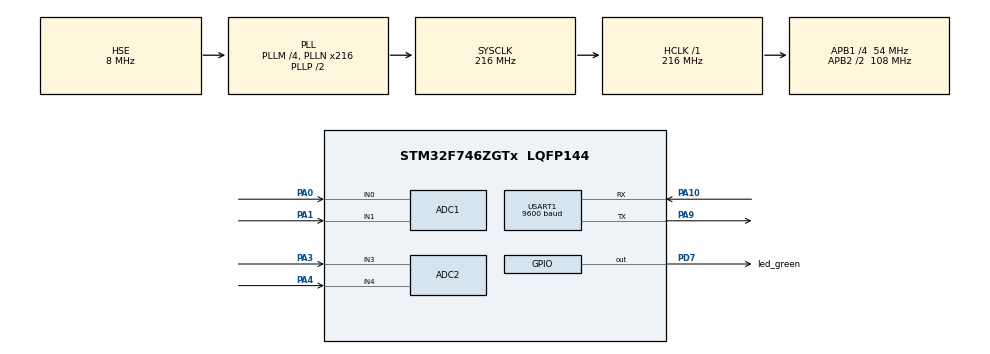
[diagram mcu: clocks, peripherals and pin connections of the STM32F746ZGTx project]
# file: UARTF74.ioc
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ADC1.Channel-0\#ChannelRegularConversion=ADC_CHANNEL_0
ADC1.ContinuousConvMode=ENABLE
ADC1.DMAContinuousRequests=ENABLE
ADC1.NbrOfConversionFlag=1
ADC1.Rank-0\#ChannelRegularConversion=1
ADC1.SamplingTime-0\#ChannelRegularConversion=ADC_SAMPLETIME_3CYCLES
ADC1.ScanConvMode=ADC_SCAN_ENABLE
ADC1.master=1
ADC2.Channel-1\#ChannelRegularConversion=ADC_CHANNEL_3
ADC2.ContinuousConvMode=ENABLE
ADC2.DMAContinuousRequests=ENABLE
ADC2.NbrOfConversionFlag=1
ADC2.Rank-1\#ChannelRegularConversion=1
ADC2.SamplingTime-1\#ChannelRegularConversion=ADC_SAMPLETIME_3CYCLES
ADC2.ScanConvMode=ADC_SCAN_ENABLE
Dma.ADC1.0.Direction=DMA_PERIPH_TO_MEMORY
Dma.ADC1.0.FIFOMode=DMA_FIFOMODE_DISABLE
Dma.ADC1.0.Instance=DMA2_Stream0
Dma.ADC1.0.MemDataAlignment=DMA_MDATAALIGN_WORD
Dma.ADC1.0.MemInc=DMA_MINC_ENABLE
Dma.ADC1.0.Mode=DMA_CIRCULAR
Dma.ADC1.0.PeriphDataAlignment=DMA_PDATAALIGN_WORD
Dma.ADC1.0.PeriphInc=DMA_PINC_DISABLE
Dma.ADC1.0.Priority=DMA_PRIORITY_LOW
Dma.ADC2.1.Direction=DMA_PERIPH_TO_MEMORY
Dma.ADC2.1.FIFOMode=DMA_FIFOMODE_DISABLE
Dma.ADC2.1.Instance=DMA2_Stream2
Dma.ADC2.1.MemDataAlignment=DMA_MDATAALIGN_WORD
Dma.ADC2.1.MemInc=DMA_MINC_ENABLE
Dma.ADC2.1.Mode=DMA_CIRCULAR
Dma.ADC2.1.PeriphDataAlignment=DMA_PDATAALIGN_WORD
Dma.ADC2.1.PeriphInc=DMA_PINC_DISABLE
Dma.ADC2.1.Priority=DMA_PRIORITY_LOW
Dma.Request0=ADC1
Dma.Request1=ADC2
Mcu.Family=STM32F7
Mcu.Name=STM32F746ZGTx
Mcu.Package=LQFP144
NVIC.DMA2_Stream0_IRQn=true\:0\:0\:false\:false\:true\:false\:true\:true
NVIC.DMA2_Stream2_IRQn=true\:0\:0\:false\:false\:true\:false\:true\:true
NVIC.PriorityGroup=NVIC_PRIORITYGROUP_4
NVIC.USART1_IRQn=true\:0\:0\:false\:false\:true\:true\:true\:true
PA0/WKUP.Signal=ADCx_IN0
PA1.Signal=ADCx_IN1
PA10.GPIO_PuPd=GPIO_PULLUP
PA10.GPIO_Speed=GPIO_SPEED_FREQ_MEDIUM
PA10.Mode=Asynchronous
PA10.Signal=USART1_RX
PA3.Signal=ADCx_IN3
PA4.Signal=ADCx_IN4
PA9.GPIO_PuPd=GPIO_PULLUP
PA9.GPIO_Speed=GPIO_SPEED_FREQ_MEDIUM
PA9.Mode=Asynchronous
PA9.Signal=USART1_TX
PD7.GPIO_Label=led_green
PD7.GPIO_PuPd=GPIO_PULLDOWN
PD7.GPIO_Speed=GPIO_SPEED_FREQ_MEDIUM
PD7.Signal=GPIO_Output
PH0/OSC_IN.GPIO_Label=MCO [STM32F103CBT6_PA8]
PH0/OSC_IN.Mode=HSE-External-Clock-Source
PH0/OSC_IN.Signal=RCC_OSC_IN
PH1/OSC_OUT.Mode=HSE-External-Clock-Source
PH1/OSC_OUT.Signal=RCC_OSC_OUT
ProjectManager.HeapSize=0x200
ProjectManager.StackSize=0x400
ProjectManager.TargetToolchain=STM32CubeIDE
RCC.48MHZClocksFreq_Value=24000000
RCC.AHBFreq_Value=216000000
RCC.APB1CLKDivider=RCC_HCLK_DIV4
RCC.APB1Freq_Value=54000000
RCC.APB1TimFreq_Value=108000000
RCC.APB2CLKDivider=RCC_HCLK_DIV2
RCC.APB2Freq_Value=108000000
RCC.APB2TimFreq_Value=216000000
RCC.CortexFreq_Value=216000000
RCC.HCLKFreq_Value=216000000
RCC.HSE_VALUE=8000000
RCC.HSI_VALUE=16000000
RCC.LSE_VALUE=32768
RCC.PLLM=4
RCC.PLLMUL=RCC_PLL_MUL9
RCC.PLLN=216
RCC.PLLQ=3
RCC.PLLSourceVirtual=RCC_PLLSOURCE_HSE
RCC.PRESCALERUSB=RCC_USBCLKSOURCE_PLL_DIV1_5
RCC.SYSCLKFreq_VALUE=216000000
RCC.SYSCLKSource=RCC_SYSCLKSOURCE_PLLCLK
RCC.SYSCLKSourceVirtual=RCC_SYSCLKSOURCE_PLLCLK
RCC.USBFreq_Value=144000000
RCC.VCOOutputFreq_Value=432000000
SH.ADCx_IN0.0=ADC1_IN0,IN0
SH.ADCx_IN1.0=ADC1_IN1,IN1
SH.ADCx_IN3.0=ADC2_IN3,IN3
SH.ADCx_IN4.0=ADC2_IN4,IN4
USART1.BaudRate=9600
USART1.VirtualMode-Asynchronous=VM_ASYNC
board=NUCLEO-F746ZG

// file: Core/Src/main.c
/* USER CODE BEGIN Header */
/**
  ******************************************************************************
  * @file           : main.c
  * @brief          : Main program body
  ******************************************************************************
  * @attention
  *
  * Copyright (c) 2024 STMicroelectronics.
  * All rights reserved.
  *
  * This software is licensed under terms that can be found in the LICENSE file
  * in the root directory of this software component.
  * If no LICENSE file comes with this software, it is provided AS-IS.
  *
  ******************************************************************************
  */
/* USER CODE END Header */
#include "main.h"

ADC_HandleTypeDef hadc1;
ADC_HandleTypeDef hadc2;
DMA_HandleTypeDef hdma_adc1;
DMA_HandleTypeDef hdma_adc2;

UART_HandleTypeDef huart1;

/* USER CODE BEGIN PV */
uint8_t senddata1[4] = {0x66, 0x02, 0x00, 0x68};//TX UART avec bldc
uint8_t senddata[4] ={0x66, 0x42, 0x00, 0xa8};
uint8_t trame[10];//RX UART from bldc
uint8_t CUR_MTMeule;

/* USER CODE END PV */

void SystemClock_Config(void);
static void MX_GPIO_Init(void);
static void MX_DMA_Init(void);
static void MX_ADC1_Init(void);
static void MX_ADC2_Init(void);
static void MX_USART1_UART_Init(void);

/* USER CODE BEGIN 0 */
/*void HAL_ADC_ConvCpltCallback(ADC_HandleTypeDef* hadc)
{

	 if (hadc->Instance == ADC1)
	 	  {

	 	     VBATT=(BATT*3.24/ 4095)*(21/3.24);//tension de la batterie

	 	  }

	 if (hadc->Instance == ADC2)
	 	 	  {

	 	 	     VBATT=(BATT*3.24/ 4095)*(21/3.24);//tension de la batterie

	 	 	  }
}*/
void HAL_UART_RxCpltCallback(UART_HandleTypeDef *huart)
  {
	 //receiveUart();

		HAL_UART_Receive_IT(&huart1,trame, 10);//recevoir trame du bldc;
		CUR_MTMeule= trame[9]/10.0;

}

void sendParameter()

{

  HAL_UART_Transmit_IT(&huart1, senddata, 4);

   HAL_Delay(100);

}

void sendParameter1()

{

  HAL_UART_Transmit_IT(&huart1, senddata1, 4);

   HAL_Delay(100);

}
/* USER CODE END 0 */

int main(void)
{

  /* MCU Configuration--------------------------------------------------------*/

  /* Reset of all peripherals, Initializes the Flash interface and the Systick. */
  HAL_Init();

  /* Configure the system clock */
  SystemClock_Config();

  /* Initialize all configured peripherals */
  MX_GPIO_Init();
  MX_DMA_Init();
  MX_ADC1_Init();
  MX_ADC2_Init();
  MX_USART1_UART_Init();
  /* USER CODE BEGIN 2 */
	HAL_UART_Receive_IT(&huart1,trame, 10);//recevoir trame du bldc;
	//sendParameter1();

  /* USER CODE END 2 */

  /* Infinite loop */
  while (1)
  {

    /* USER CODE BEGIN 3 */
sendParameter();

  }
  /* USER CODE END 3 */
}

void SystemClock_Config(void)
{
  RCC_OscInitTypeDef RCC_OscInitStruct = {0};
  RCC_ClkInitTypeDef RCC_ClkInitStruct = {0};

  /** Configure the main internal regulator output voltage
  */
  __HAL_RCC_PWR_CLK_ENABLE();
  __HAL_PWR_VOLTAGESCALING_CONFIG(PWR_REGULATOR_VOLTAGE_SCALE1);

  /** Initializes the RCC Oscillators according to the specified parameters
  * in the RCC_OscInitTypeDef structure.
  */
  RCC_OscInitStruct.OscillatorType = RCC_OSCILLATORTYPE_HSE;
  RCC_OscInitStruct.HSEState = RCC_HSE_BYPASS;
  RCC_OscInitStruct.PLL.PLLState = RCC_PLL_ON;
  RCC_OscInitStruct.PLL.PLLSource = RCC_PLLSOURCE_HSE;
  RCC_OscInitStruct.PLL.PLLM = 4;
  RCC_OscInitStruct.PLL.PLLN = 216;
  RCC_OscInitStruct.PLL.PLLP = RCC_PLLP_DIV2;
  RCC_OscInitStruct.PLL.PLLQ = 3;
  if (HAL_RCC_OscConfig(&RCC_OscInitStruct) != HAL_OK)
  {
    Error_Handler();
  }

  /** Activate the Over-Drive mode
  */
  if (HAL_PWREx_EnableOverDrive() != HAL_OK)
  {
    Error_Handler();
  }

  /** Initializes the CPU, AHB and APB buses clocks
  */
  RCC_ClkInitStruct.ClockType = RCC_CLOCKTYPE_HCLK|RCC_CLOCKTYPE_SYSCLK
                              |RCC_CLOCKTYPE_PCLK1|RCC_CLOCKTYPE_PCLK2;
  RCC_ClkInitStruct.SYSCLKSource = RCC_SYSCLKSOURCE_PLLCLK;
  RCC_ClkInitStruct.AHBCLKDivider = RCC_SYSCLK_DIV1;
  RCC_ClkInitStruct.APB1CLKDivider = RCC_HCLK_DIV4;
  RCC_ClkInitStruct.APB2CLKDivider = RCC_HCLK_DIV2;

  if (HAL_RCC_ClockConfig(&RCC_ClkInitStruct, FLASH_LATENCY_7) != HAL_OK)
  {
    Error_Handler();
  }
}

static void MX_ADC1_Init(void)
{

  ADC_ChannelConfTypeDef sConfig = {0};

  /** Configure the global features of the ADC (Clock, Resolution, Data Alignment and number of conversion)
  */
  hadc1.Instance = ADC1;
  hadc1.Init.ClockPrescaler = ADC_CLOCK_SYNC_PCLK_DIV4;
  hadc1.Init.Resolution = ADC_RESOLUTION_12B;
  hadc1.Init.ScanConvMode = ADC_SCAN_ENABLE;
  hadc1.Init.ContinuousConvMode = ENABLE;
  hadc1.Init.DiscontinuousConvMode = DISABLE;
  hadc1.Init.ExternalTrigConvEdge = ADC_EXTERNALTRIGCONVEDGE_NONE;
  hadc1.Init.ExternalTrigConv = ADC_SOFTWARE_START;
  hadc1.Init.DataAlign = ADC_DATAALIGN_RIGHT;
  hadc1.Init.NbrOfConversion = 1;
  hadc1.Init.DMAContinuousRequests = ENABLE;
  hadc1.Init.EOCSelection = ADC_EOC_SINGLE_CONV;
  if (HAL_ADC_Init(&hadc1) != HAL_OK)
  {
    Error_Handler();
  }

  /** Configure for the selected ADC regular channel its corresponding rank in the sequencer and its sample time.
  */
  sConfig.Channel = ADC_CHANNEL_0;
  sConfig.Rank = ADC_REGULAR_RANK_1;
  sConfig.SamplingTime = ADC_SAMPLETIME_3CYCLES;
  if (HAL_ADC_ConfigChannel(&hadc1, &sConfig) != HAL_OK)
  {
    Error_Handler();
  }

}

static void MX_ADC2_Init(void)
{

  ADC_ChannelConfTypeDef sConfig = {0};

  /** Configure the global features of the ADC (Clock, Resolution, Data Alignment and number of conversion)
  */
  hadc2.Instance = ADC2;
  hadc2.Init.ClockPrescaler = ADC_CLOCK_SYNC_PCLK_DIV4;
  hadc2.Init.Resolution = ADC_RESOLUTION_12B;
  hadc2.Init.ScanConvMode = ADC_SCAN_ENABLE;
  hadc2.Init.ContinuousConvMode = ENABLE;
  hadc2.Init.DiscontinuousConvMode = DISABLE;
  hadc2.Init.ExternalTrigConvEdge = ADC_EXTERNALTRIGCONVEDGE_NONE;
  hadc2.Init.ExternalTrigConv = ADC_SOFTWARE_START;
  hadc2.Init.DataAlign = ADC_DATAALIGN_RIGHT;
  hadc2.Init.NbrOfConversion = 1;
  hadc2.Init.DMAContinuousRequests = ENABLE;
  hadc2.Init.EOCSelection = ADC_EOC_SINGLE_CONV;
  if (HAL_ADC_Init(&hadc2) != HAL_OK)
  {
    Error_Handler();
  }

  /** Configure for the selected ADC regular channel its corresponding rank in the sequencer and its sample time.
  */
  sConfig.Channel = ADC_CHANNEL_3;
  sConfig.Rank = ADC_REGULAR_RANK_1;
  sConfig.SamplingTime = ADC_SAMPLETIME_3CYCLES;
  if (HAL_ADC_ConfigChannel(&hadc2, &sConfig) != HAL_OK)
  {
    Error_Handler();
  }

}

static void MX_USART1_UART_Init(void)
{

  huart1.Instance = USART1;
  huart1.Init.BaudRate = 9600;
  huart1.Init.WordLength = UART_WORDLENGTH_8B;
  huart1.Init.StopBits = UART_STOPBITS_1;
  huart1.Init.Parity = UART_PARITY_NONE;
  huart1.Init.Mode = UART_MODE_TX_RX;
  huart1.Init.HwFlowCtl = UART_HWCONTROL_NONE;
  huart1.Init.OverSampling = UART_OVERSAMPLING_16;
  huart1.Init.OneBitSampling = UART_ONE_BIT_SAMPLE_DISABLE;
  huart1.AdvancedInit.AdvFeatureInit = UART_ADVFEATURE_NO_INIT;
  if (HAL_UART_Init(&huart1) != HAL_OK)
  {
    Error_Handler();
  }

}

static void MX_DMA_Init(void)
{

  /* DMA controller clock enable */
  __HAL_RCC_DMA2_CLK_ENABLE();

  /* DMA interrupt init */
  /* DMA2_Stream0_IRQn interrupt configuration */
  HAL_NVIC_SetPriority(DMA2_Stream0_IRQn, 0, 0);
  HAL_NVIC_EnableIRQ(DMA2_Stream0_IRQn);
  /* DMA2_Stream2_IRQn interrupt configuration */
  HAL_NVIC_SetPriority(DMA2_Stream2_IRQn, 0, 0);
  HAL_NVIC_EnableIRQ(DMA2_Stream2_IRQn);

}

static void MX_GPIO_Init(void)
{
  GPIO_InitTypeDef GPIO_InitStruct = {0};

  /* GPIO Ports Clock Enable */
  __HAL_RCC_GPIOH_CLK_ENABLE();
  __HAL_RCC_GPIOA_CLK_ENABLE();
  __HAL_RCC_GPIOD_CLK_ENABLE();

  /*Configure GPIO pin Output Level */
  HAL_GPIO_WritePin(led_green_GPIO_Port, led_green_Pin, GPIO_PIN_RESET);

  /*Configure GPIO pin : led_green_Pin */
  GPIO_InitStruct.Pin = led_green_Pin;
  GPIO_InitStruct.Mode = GPIO_MODE_OUTPUT_PP;
  GPIO_InitStruct.Pull = GPIO_PULLDOWN;
  GPIO_InitStruct.Speed = GPIO_SPEED_FREQ_MEDIUM;
  HAL_GPIO_Init(led_green_GPIO_Port, &GPIO_InitStruct);

}

void Error_Handler(void)
{
  __disable_irq();
  while (1)
  {
  }
}
